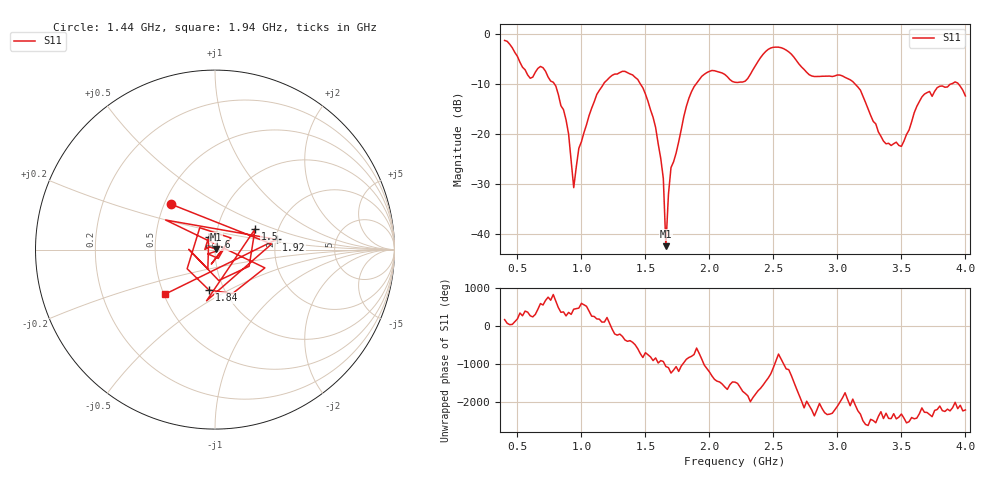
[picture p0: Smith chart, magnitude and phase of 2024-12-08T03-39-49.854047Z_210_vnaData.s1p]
!Created with skrf (http://scikit-rf.org).
# Hz S RI R 50.0
!freq ReS11 ImS11
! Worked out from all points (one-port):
!   181 points, 400 MHz to 4 GHz, reference 50 ohm
!   lowest |S11| = -42.5 dB at 1.66 GHz (marker M1), VSWR 1.02, Z = 50.7 + j0.308 ohm
!   |S11| at or under -10 dB: 788.6 MHz to 1.174 GHz (385 MHz wide, 39.2 % of centre); 1.46 GHz to 1.896 GHz (436.2 MHz wide, 26 % of centre); 3.137 GHz to 3.89 GHz (752.6 MHz wide, 21.4 % of centre) (the widest 3 of 4)
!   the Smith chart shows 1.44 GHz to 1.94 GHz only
!   S11 on the Smith chart (normalised r, x): 1.44 GHz: 0.55, +0.31; 1.5 GHz: 1.52, +0.37; 1.6 GHz: 0.92, +0.13; 1.84 GHz: 0.85, -0.40; 1.92 GHz: 2.02, +0.26; 1.94 GHz: 0.50, -0.29
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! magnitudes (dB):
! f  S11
! 400 MHz  -1.3
! 600 MHz  -8.9
! 700 MHz  -6.8
! 860 MHz  -15.2
! 900 MHz  -20.1
! 940 MHz  -30.8
! 980 MHz  -22.9
! 1.12 GHz  -12.1
! 1.3 GHz  -7.7
! 1.44 GHz  -9.1
! 1.5 GHz  -12.0
! 1.6 GHz  -22.0
! 1.64 GHz  -28.9
! 1.66 GHz  -42.5
! 1.7 GHz  -26.8
! 1.76 GHz  -21.6
! 1.84 GHz  -12.9
! 1.92 GHz  -9.2
! 1.94 GHz  -8.5
! 2.2 GHz  -9.7
! 2.48 GHz  -2.8
! 2.66 GHz  -4.6
! 3.1 GHz  -9.2
! 3.38 GHz  -22.0
! 3.56 GHz  -19.2
! 3.68 GHz  -12.1
! 3.92 GHz  -9.6
! 4 GHz  -12.4
